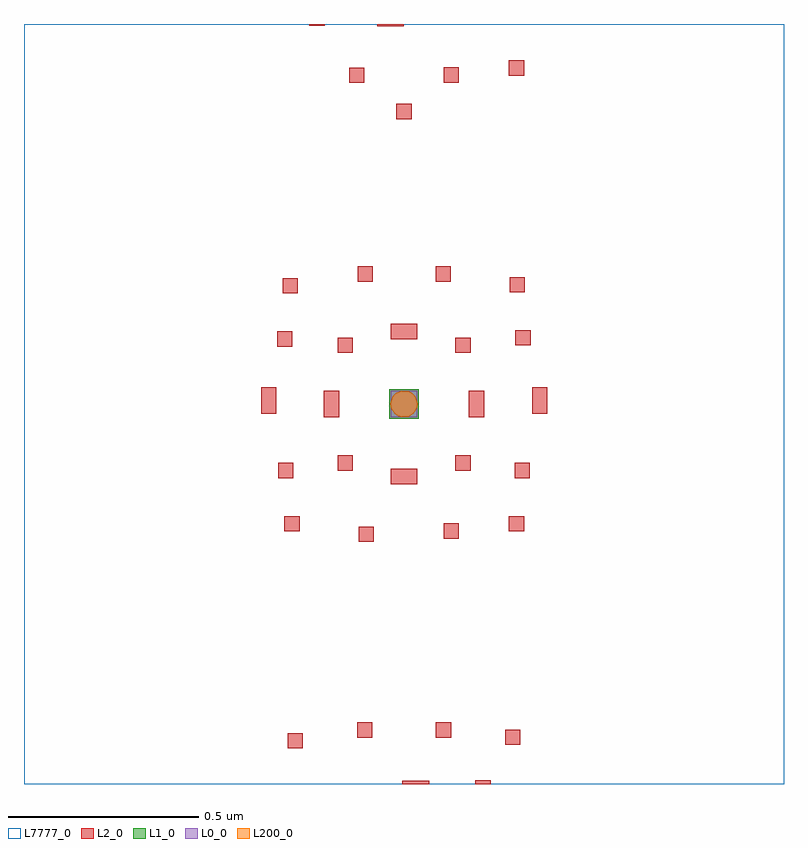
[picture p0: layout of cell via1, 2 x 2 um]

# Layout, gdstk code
import gdstk
lib = gdstk.Library(unit=1e-6, precision=1e-09)
def R(c, l, rs):  # rectangles x0, y0, x1, y1
    for r in rs: c.add(gdstk.rectangle(r[:2], r[2:], *l))
def P(c, l, *ps):  # polygons
    for p in ps: c.add(gdstk.Polygon(p, *l))
L0_0 = (0, 0)
L1_0 = (1, 0)
L2_0 = (2, 0)
L200_0 = (200, 0)
L7777_0 = (7777, 0)

via1 = lib.new_cell('via1')
R(via1, L0_0, [(5.915,3.965,5.985,4.035)])
R(via1, L1_0, [(5.911,3.961,5.989,4.039)])
R(via1, L2_0, [(5.946,3,6.016,3.008), (6.138,3,6.178,3.01), (5.644,3.094,5.684,3.134), (6.216,3.103,6.256,3.143), (5.827,3.122,5.867,3.162), (6.034,3.122,6.074,3.162), (5.831,3.637,5.871,3.677), (6.054,3.646,6.094,3.686), (5.635,3.665,5.675,3.705), (6.226,3.665,6.266,3.705), (5.915,3.789,5.985,3.829), (5.619,3.805,5.659,3.845), (6.241,3.805,6.281,3.845), (5.775,3.825,5.815,3.865), (6.085,3.825,6.125,3.865), (5.739,3.965,5.779,4.035), (6.121,3.965,6.161,4.035), (5.574,3.974,5.614,4.044), (6.287,3.974,6.327,4.044), (5.775,4.135,5.815,4.175), (6.085,4.135,6.125,4.175), (5.616,4.151,5.656,4.191), (6.243,4.154,6.283,4.194), (5.915,4.171,5.985,4.211), (5.631,4.291,5.671,4.331), (6.228,4.294,6.268,4.334), (5.828,4.322,5.868,4.362), (6.033,4.322,6.073,4.362), (5.93,4.75,5.971,4.79), (5.806,4.845,5.846,4.885), (6.054,4.846,6.094,4.886), (6.226,4.864,6.266,4.904), (5.879,4.994,5.949,5), (5.701,4.996,5.741,5)])
P(via1, L200_0, [(5.944,3.965),(5.935,3.968),(5.926,3.974),(5.917,3.988),(5.914,4.001),(5.92,4.02),(5.929,4.029),(5.944,4.035),(5.963,4.033),(5.971,4.029),(5.98,4.02),(5.986,4.001),(5.985,3.992),(5.981,3.983),(5.974,3.974),(5.963,3.967)])
R(via1, L7777_0, [(4.95,3,6.95,5)])

lib.write_gds('via1.gds')
